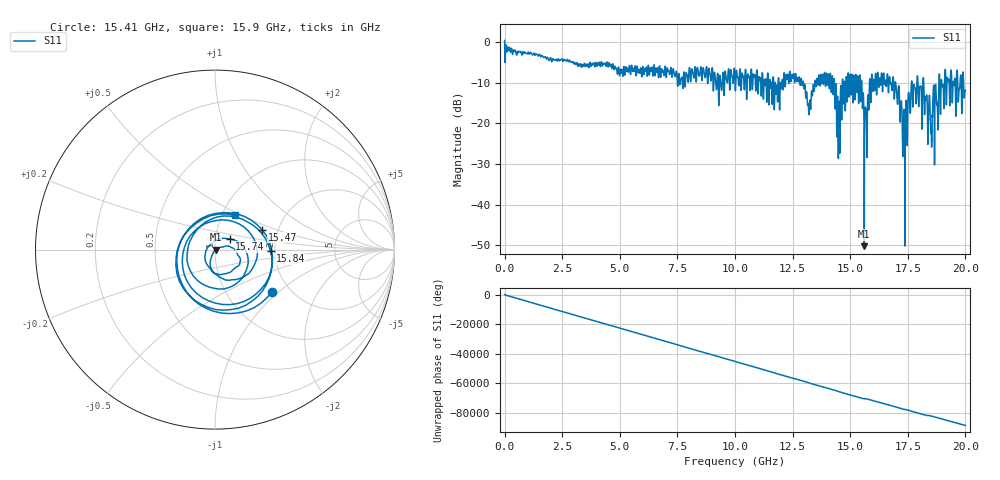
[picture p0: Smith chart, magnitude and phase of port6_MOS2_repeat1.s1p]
! MS46122B
! 2250307/22442219
! 7/27/2025 9:28:26 AM
! C:\USERS\SPARKY\DOCUMENTS\VNA_DATA\JULY27_2025\3K\PORT6_MOS2_REPEAT1.S1P
! CHANNEL.1
! TR.MEASUREMENT
! RAW.DATA
# GHZ S RI R 50.0
! FREQ.GHZ  S11RE  S11IM
!; PortSelection: Port_1
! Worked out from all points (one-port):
!   10001 points, 1 MHz to 20 GHz, reference 50 ohm
!   lowest |S11| = -50.2 dB at 15.61 GHz (marker M1), VSWR 1.01, Z = 50.3 - j0.121 ohm
!   |S11| at or under -10 dB: 12.96 GHz to 13.46 GHz (500.5 MHz wide, 3.79 % of centre); 16.97 GHz to 17.66 GHz (682.8 MHz wide, 3.94 % of centre); 18.19 GHz to 18.85 GHz (657.1 MHz wide, 3.55 % of centre) (the widest 3 of 87)
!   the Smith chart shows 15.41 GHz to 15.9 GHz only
!   S11 on the Smith chart (normalised r, x): 15.41 GHz: 1.61, -0.91; 15.47 GHz: 1.65, +0.40; 15.74 GHz: 1.17, +0.14; 15.84 GHz: 1.90, -0.04; 15.9 GHz: 1.15, +0.46
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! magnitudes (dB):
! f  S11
! 1 MHz  0.4
! 2.501 GHz  -4.3
! 5.001 GHz  -7.7
! 7.501 GHz  -10.3
! 10 GHz  -9.1
! 11.78 GHz  -12.8
! 12.5 GHz  -8.9
! 12.95 GHz  -9.6
! 13.22 GHz  -17.7
! 13.56 GHz  -8.9
! 14.06 GHz  -7.9
! 14.3 GHz  -9.0
! 14.49 GHz  -27.0
! 15 GHz  -7.9
! 15.41 GHz  -8.1
! 15.47 GHz  -10.9
! 15.61 GHz  -50.2
! 15.74 GHz  -19.9
! 15.84 GHz  -10.2
! 15.9 GHz  -13.1
! 16.79 GHz  -10.5
! 17.04 GHz  -14.8
! 17.31 GHz  -19.4
! 17.5 GHz  -16.2
! 17.99 GHz  -13.9
! 18.46 GHz  -15.5
! 19.19 GHz  -12.0
! 20 GHz  -11.9
